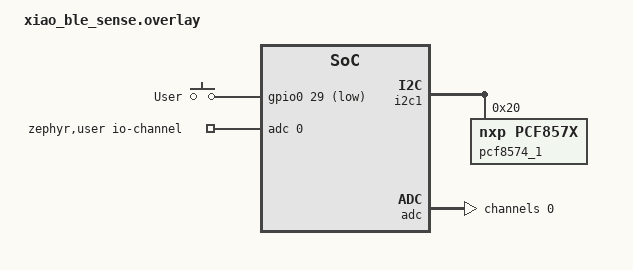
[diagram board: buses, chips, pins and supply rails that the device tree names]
&i2c1 {
    pcf8574_1: pcf8574@20 {
        compatible = "nxp,pcf857x";
        status = "okay";
        reg = <0x20>;
        gpio-controller;
        #gpio-cells = <2>;
        ngpios = <8>;
    };
};
/ {
	aliases {
		sw0 = &user_button;
	};

	gpio_keys {
		compatible = "gpio-keys";
		user_button: button_0 {
			label = "User";
			gpios = <&gpio0 29 GPIO_ACTIVE_LOW>;
		};
	};
};

/ {
    zephyr,user {
        io-channels = <&adc 0>;
    };
};

&adc {
   #address-cells = <1>;
   #size-cells = <0>;

   channel@0 {
       reg = <0>;
       zephyr,gain = "ADC_GAIN_1_6";
       zephyr,reference = "ADC_REF_INTERNAL";
       zephyr,acquisition-time = <ADC_ACQ_TIME_DEFAULT>;
       zephyr,input-positive = <NRF_SAADC_AIN0>;
       zephyr,resolution = <12>;
   };
};
